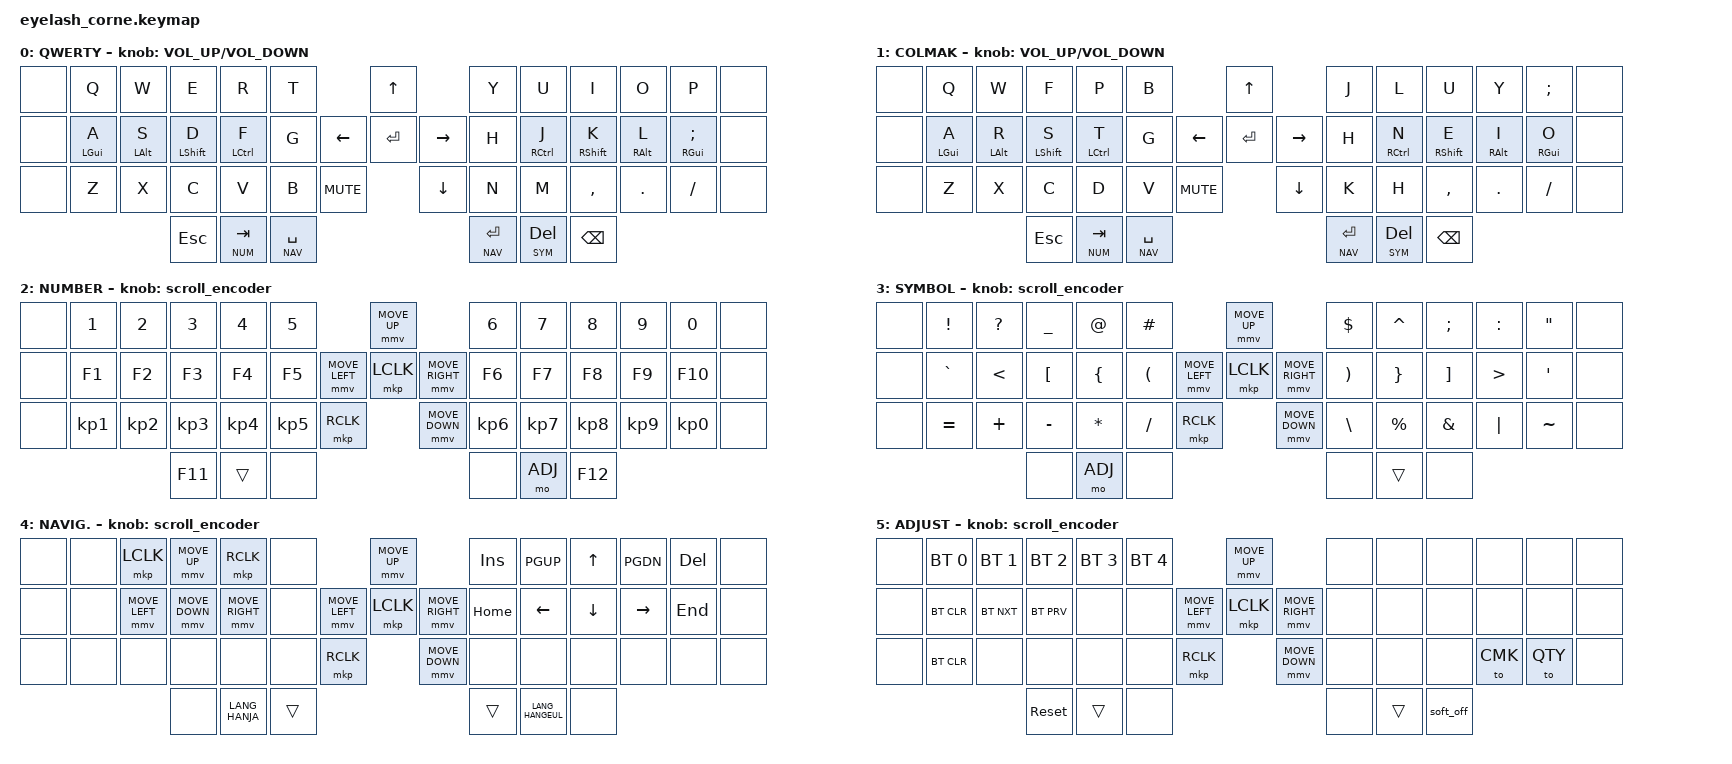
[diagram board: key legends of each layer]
#include <behaviors.dtsi>
#include <dt-bindings/zmk/bt.h>
#include <dt-bindings/zmk/keys.h>
#include <dt-bindings/zmk/mouse.h>
#include <dt-bindings/zmk/outputs.h>
#include <dt-bindings/zmk/rgb.h>

#include <input/processors.dtsi>

/*

   &mmv_input_listener {
       input-processors = <&zip_xy_scaler 2 1>;
   };

   &msc_input_listener {
       input-processors = <&zip_xy_scaler 2 1>;
   };

 */

#define ZMK_MOUSE_DEFAULT_MOVE_VAL 1200  // 600
#define ZMK_MOUSE_DEFAULT_SCRL_VAL 20    // 10

#define QTY 0
#define CMK 1
#define NUM 2
#define SYM 3
#define NAV 4
#define ADJ 5

/ {
    behaviors {
        td0: td0 {
            compatible = "zmk,behavior-tap-dance";
            display-name = "Shift/Caps Lock Tap Dance";
            #binding-cells = <0>;
            bindings = <&kp LEFT_SHIFT>, <&kp CAPS>;
        };
	hm: homerow_mods {
	    compatible = "zmk,behavior-hold-tap";
	    label = "homerow mods";
	    #binding-cells = <2>;
	    tapping_term_ms = <220>;
	    flavor = "balanced";
	    bindings = <&kp>, <&kp>;
	};
    };

    rgb_encoder: rgb_encoder {
        compatible = "zmk,behavior-sensor-rotate";
        #sensor-binding-cells = <0>;
        bindings = <&rgb_ug RGB_BRI>, <&rgb_ug RGB_BRD>;
    };

    scroll_encoder: scroll_encoder {
        compatible = "zmk,behavior-sensor-rotate";
        #sensor-binding-cells = <0>;
        bindings = <&msc SCRL_DOWN>, <&msc SCRL_UP>;
        tap-ms = <30>;
    };

    keymap {
        compatible = "zmk,keymap";

        qwerty_layer {
            display-name = "QWERTY";
            bindings = <
// -----------------------------------------------------------------------------------------
// | NO |  Q  |  W  |  E  |  R  |  T  |   |  Y  |  U  |  I  |  O  |  P  | NO |
// | NO |  A  |  S  |  D  |  F  |  G  |   |  H  |  J  |  K  |  L  |  ;  | NO |
// | NO |  Z  |  X  |  C  |  V  |  B  |   |  N  |  M  |  ,  |  .  |  /  | NO |
//                  | ESC | TAB | SPC |   | ENT | DEL | BSP |
&none &kp Q      &kp W      &kp E        &kp R        &kp T                                 &kp UP               &kp Y       &kp U       &kp I        &kp O      &kp P          &none
&none &hm LGUI A &hm LALT S &hm LSHIFT D &hm LCTRL F  &kp G                        &kp LEFT &kp ENTER  &kp RIGHT &kp H       &hm RCTRL J &hm RSHIFT K &hm RALT L &hm RGUI SEMI  &none
&none &kp Z      &kp X      &kp C        &kp V        &kp B             &kp C_MUTE          &kp DOWN             &kp N       &kp M       &kp COMMA    &kp DOT    &kp FSLH       &none
                                &kp ESC      &lt NUM TAB  &lt NAV SPACE                                          &lt NAV RET &lt SYM DEL &kp BSPC
            >;
            sensor-bindings = <&inc_dec_kp C_VOLUME_UP C_VOLUME_DOWN>;
        };
        
        colemak_layer {
// -----------------------------------------------------------------------------------------
// | NO |  Q  |  W  |  F  |  P  |  B  |   |  J  |  L  |  U  |  Y  |  ;  | NO |
// | NO |  A  |  R  |  S  |  T  |  G  |   |  M  |  N  |  E  |  I  |  O  | NO |
// | NO |  Z  |  X  |  C  |  D  |  V  |   |  K  |  H  |  ,  |  .  |  /  | NO |
//                  | ESC | TAB | SPC |   | ENT | DEL | BSP |
            display-name = "COLMAK";
            bindings = <
&none &kp Q      &kp W      &kp F        &kp P        &kp B                                 &kp UP               &kp J       &kp L       &kp U        &kp Y      &kp SEMI   &none
&none &hm LGUI A &hm LALT R &hm LSHIFT S &hm LCTRL T  &kp G                        &kp LEFT &kp ENTER  &kp RIGHT &kp H       &hm RCTRL N &hm RSHIFT E &hm RALT I &hm RGUI O &none
&none &kp Z      &kp X      &kp C        &kp D        &kp V             &kp C_MUTE          &kp DOWN             &kp K       &kp H       &kp COMMA    &kp DOT    &kp FSLH   &none
                                &kp ESC      &lt NUM TAB  &lt NAV SPACE                                          &lt NAV RET &lt SYM DEL &kp BSPC
            >;
            sensor-bindings = <&inc_dec_kp C_VOLUME_UP C_VOLUME_DOWN>;
        };

        num_layer {
// -----------------------------------------------------------------------------------------
// | NO |  1  |  2  |  3  |  4  |  5  |   |  6  |  7  |  8  |  9  |  0  | NO |
// | NO | F1  | F2  | F3  | F4  | F5  |   | F6  | F7  | F8  | F9  | F10 | NO |
// | NO | KP1 | KP2 | KP3 | KP4 | KP5 |   | KP6 | KP7 | KP8 | KP9 | KP0 | NO |
//                  | F11 |trans|     |   |     | ADJ | F12 |
            display-name = "NUMBER";
            bindings = <
&none &kp N1    &kp N2     &kp N3    &kp N4    &kp N5                              &mmv MOVE_UP                   &kp N6    &kp N7     &kp N8    &kp N9    &kp N0    &none
&none &kp F1    &kp F2     &kp F3    &kp F4    &kp F5              &mmv MOVE_LEFT  &mkp LCLK      &mmv MOVE_RIGHT &kp F6    &kp F7     &kp F8    &kp F9    &kp F10   &none
&none &kp KP_N1 &kp KP_N2 &kp KP_N3 &kp KP_N4 &kp KP_N5 &mkp RCLK                 &mmv MOVE_DOWN                 &kp KP_N6 &kp KP_N7  &kp KP_N8 &kp KP_N9 &kp KP_N0 &none
                           &kp F11   &trans    &none                                                              &none     &mo ADJ    &kp F12
            >;
            sensor-bindings = <&scroll_encoder>;
        };

        sym_layer {
// -----------------------------------------------------------------------------------------
// | NO |  !  |  ?  |  _  |  @  |  #  |   |  $  |  ^  |  ;  |  :  |  "  | NO |
// | NO |  `  |  <  |  [  |  {  |  (  |   |  )  |  }  |  ]  |  >  |  '  | NO |
// | NO |  =  |  +  |  -  |  *  |  /  |   |  \  |  %  |  &  | "|" |  ~  | NO |
            display-name = "SYMBOL";
            bindings = <
&none &kp EXCL  &kp QMARK &kp UNDER &kp AT   &kp HASH                           &mmv MOVE_UP                   &kp DLLR &kp CARET &kp SEMI &kp COLON &kp DQT   &none
&none &kp GRAVE &kp LT    &kp LBKT  &kp LBRC &kp LPAR            &mmv MOVE_LEFT &mkp LCLK      &mmv MOVE_RIGHT &kp RPAR &kp RBRC  &kp RBKT &kp GT    &kp APOS  &none
&none &kp EQUAL &kp PLUS  &kp MINUS &kp STAR &kp FSLH  &mkp RCLK                &mmv MOVE_DOWN                 &kp BSLH &kp PRCNT &kp AMPS &kp PIPE  &kp TILDE &none
                    	  &none     &mo ADJ  &none                                                             &none    &trans    &none
            >;
            sensor-bindings = <&scroll_encoder>;
        };
        
        nav_layer {
// -----------------------------------------------------------------------------------------
// | NO |     | mlk | mup | mrk  |      |   |  INS | PGUP |  UP  |  PGDN | DEL | NO |
// | NO |     | mlf | mdn | mrgt |      |   | HOME | LEFT | DOWN | RIGHT | END | NO |
// | NO |     |     |     |      |      |   |      |      |      |       |     | NO |
//                  |     | HANJ | trans|   | trans| HAEN |      |
            display-name= "NAVIG.";
            bindings = <
&none &none &mkp LCLK      &mmv MOVE_UP   &mkp RCLK       &none                           &mmv MOVE_UP              &kp INS  &kp PGUP         &kp UP    &kp PGDN   &kp DEL  &none
&none &none &mmv MOVE_LEFT &mmv MOVE_DOWN &mmv MOVE_RIGHT &none            &mmv MOVE_LEFT &mkp LCLK &mmv MOVE_RIGHT &kp HOME &kp LEFT         &kp DOWN  &kp RIGHT  &kp END  &none
&none &none &none          &none          &none           &none  &mkp RCLK                &mmv MOVE_DOWN            &none    &none            &none     &none      &none    &none
                           &none          &kp LANG_HANJA &trans                                                     &trans   &kp LANG_HANGEUL &none
                        >;
            sensor-bindings = <&scroll_encoder>;
        };

                adj_layer {
// -----------------------------------------------------------------------------------------
// | NO | BT1  | BT2 | BT3 | BT4  | BT5 |   |     |      |     |        |        | NO |
// | NO | BTCL | BTN | BTP |      |     |   |     |      |     |        |        | NO |
// | NO |      |     |     |      |     |   |     |      |     | COLMAK | QWERTY | NO |
//                   | RST | trans|     |   |     | trans|     |
            display-name= "ADJUST";
            bindings = <
&none &bt BT_SEL 0 &bt BT_SEL 1 &bt BT_SEL 2 &bt BT_SEL 3 &bt BT_SEL 4                          &mmv MOVE_UP              &none &none &none &none   &none   &none
&none &bt BT_CLR   &bt BT_NXT   &bt BT_PRV   &none        &none                  &mmv MOVE_LEFT &mkp LCLK &mmv MOVE_RIGHT &none &none &none &none   &none   &none
&none &bt BT_CLR   &none        &none        &none        &none        &mkp RCLK                &mmv MOVE_DOWN            &none &none &none &to CMK &to QTY &none
                                &sys_reset   &trans       &none                                                           &none &trans &soft_off
                        >;
            sensor-bindings = <&scroll_encoder>;
        };
    };
};
